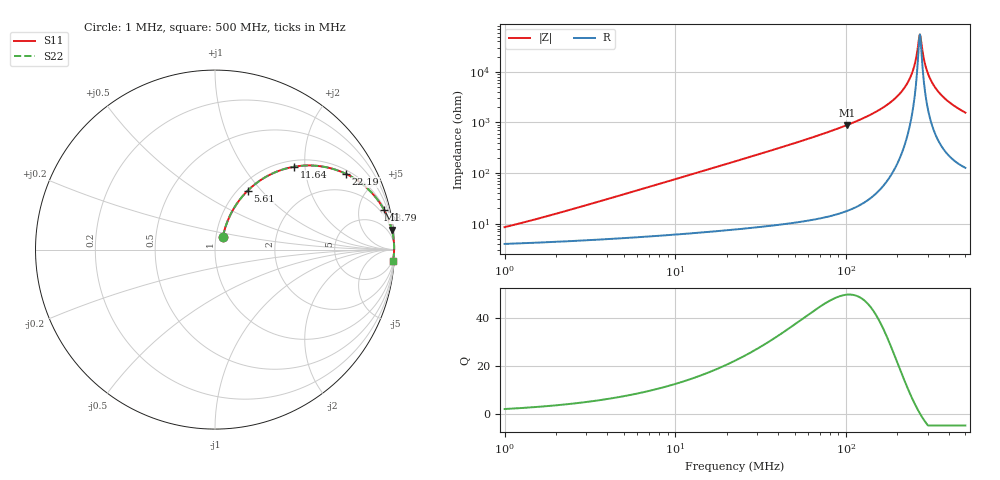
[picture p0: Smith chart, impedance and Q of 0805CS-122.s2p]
# MHz S MA R 50
!Freq  MagS11  AngS11  MagS21  AngS21  MagS12  AngS12  MagS22  AngS22
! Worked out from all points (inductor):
!   801 points, 1 MHz to 500 MHz, reference 50 ohm
!   read as one part in series: L = 1.2 uH near 1.709 MHz
!   highest Q = 49.9 at 100.9 MHz (marker M1), where L = 1.39 uH
!   self-resonance near 270.7 MHz
!   S11 on the Smith chart (normalised r, x): 1 MHz: 1.08, +0.15; 5.61 MHz: 1.11, +0.85; 11.64 MHz: 1.13, +1.76; 22.19 MHz: 1.15, +3.37; 53.79 MHz: 1.22, +8.44; 500 MHz: 4, -31
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1  0.08174 58.1  0.9593 -4.1  0.9593 -4.1  0.08174 58.1
2.831897  0.2046 66.2  0.9364 -11.5  0.9364 -11.5  0.2046 66.2
5.610017  0.3758 61.0  0.8812 -21.9  0.8812 -21.9  0.3758 61.0
7.957584  0.4961 54.9  0.8223 -29.6  0.8223 -29.6  0.4961 54.9
11.64376  0.6391 46.3  0.7247 -39.6  0.7247 -39.6  0.6391 46.3
22.18765  0.8435 30.0  0.5003 -57.4  0.5003 -57.4  0.8435 30.0
22.53506  0.8472 29.6  0.4947 -57.8  0.4947 -57.8  0.8472 29.6
53.79161  0.9676 13.2  0.2291 -75.3  0.2291 -75.3  0.9676 13.2
63.32315  0.9766 11.1  0.1933 -77.5  0.1933 -77.5  0.9766 11.1
100.9219  0.9914 6.4  0.1122 -82.4  0.1122 -82.4  0.9914 6.4
177.937  0.9977 2.4  0.04227 -85.7  0.04227 -85.7  0.9977 2.4
209.4663  0.9982 1.5  0.02542 -85.3  0.02542 -85.3  0.9982 1.5
233.5319  0.9983 0.8  0.01461 -83.1  0.01461 -83.1  0.9983 0.8
248.5054  0.9983 0.5  0.008576 -78.4  0.008576 -78.4  0.9983 0.5
264.439  0.9982 0.1  0.002928 -52.8  0.002928 -52.8  0.9982 0.1
270.6741  0.9982 0.0  0.001819 -1.8  0.001819 -1.8  0.9982 0.0
277.0562  0.9981 -0.1  0.002903 49.7  0.002903 49.7  0.9981 -0.1
288.0291  0.998 -0.3  0.006328 71.5  0.006328 71.5  0.998 -0.3
297.1196  0.9979 -0.5  0.009286 76.6  0.009286 76.6  0.9979 -0.5
328.6923  0.9974 -1.1  0.01915 81.7  0.01915 81.7  0.9974 -1.1
389.952  0.9961 -2.1  0.03642 82.8  0.03642 82.8  0.9961 -2.1
500  0.9929 -3.6  0.06342 81.7  0.06342 81.7  0.9929 -3.6
